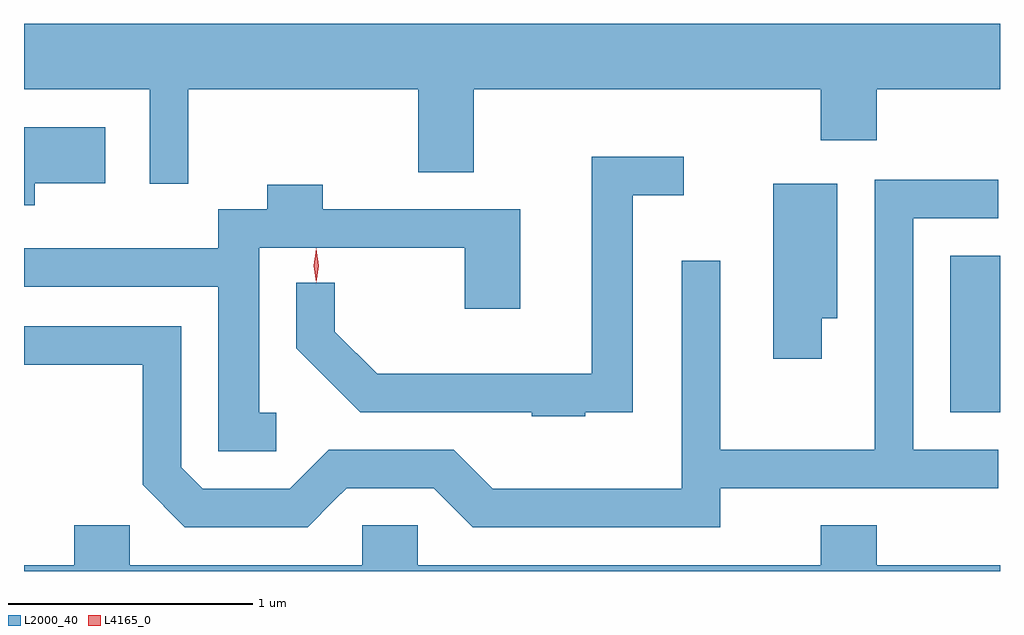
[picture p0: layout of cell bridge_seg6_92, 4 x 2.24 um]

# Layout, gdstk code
import gdstk
lib = gdstk.Library(unit=1e-6, precision=1e-09)
def R(c, l, rs):  # rectangles x0, y0, x1, y1
    for r in rs: c.add(gdstk.rectangle(r[:2], r[2:], *l))
def P(c, l, *ps):  # polygons
    for p in ps: c.add(gdstk.Polygon(p, *l))
L2000_40 = (2000, 40)
L4165_0 = (4165, 0)

bridge_seg6_92 = lib.new_cell('bridge_seg6_92')
R(bridge_seg6_92, L2000_40, [(1066.651,1666.371,1066.855,1667.014)])
P(bridge_seg6_92, L2000_40, [(1063.529,1667.696),(1064.471,1667.696),(1064.471,1667.356),(1064.699,1667.356),(1064.699,1667.696),(1066.121,1667.696),(1066.121,1667.486),(1066.349,1667.486),(1066.349,1667.696),(1066.855,1667.696),(1066.855,1667.964),(1062.855,1667.964),(1062.855,1667.696),(1063.371,1667.696),(1063.371,1667.308),(1063.529,1667.308)],
  [(1062.899,1667.311),(1063.189,1667.311),(1063.189,1667.539),(1062.855,1667.539),(1062.855,1667.221),(1062.899,1667.221)],
  [(1065.155,1666.371),(1065.349,1666.371),(1065.349,1667.261),(1065.558,1667.261),(1065.558,1667.419),(1065.181,1667.419),(1065.181,1666.529),(1064.302,1666.529),(1064.129,1666.702),(1064.129,1666.903),(1063.971,1666.903),(1063.971,1666.634),(1064.234,1666.371),(1064.935,1666.371),(1064.935,1666.356),(1065.155,1666.356)],
  [(1064.128,1666.013),(1064.177,1666.061),(1064.534,1666.061),(1064.694,1665.901),(1065.709,1665.901),(1065.709,1666.061),(1066.848,1666.061),(1066.848,1666.219),(1066.499,1666.219),(1066.499,1667.166),(1066.848,1667.166),(1066.848,1667.324),(1066.341,1667.324),(1066.341,1666.219),(1065.709,1666.219),(1065.709,1666.993),(1065.551,1666.993),(1065.551,1666.059),(1064.777,1666.059),(1064.617,1666.219),(1064.104,1666.219),(1063.944,1666.059),(1063.587,1666.059),(1063.499,1666.147),(1063.499,1666.724),(1062.855,1666.724),(1062.855,1666.566),(1063.341,1666.566),(1063.341,1666.074),(1063.514,1665.901),(1064.017,1665.901)],
  [(1066.124,1666.756),(1066.189,1666.756),(1066.189,1667.309),(1065.926,1667.309),(1065.926,1666.591),(1066.124,1666.591)],
  [(1063.888,1666.369),(1063.819,1666.369),(1063.819,1667.046),(1064.661,1667.046),(1064.661,1666.796),(1064.889,1666.796),(1064.889,1667.204),(1064.079,1667.204),(1064.079,1667.304),(1063.851,1667.304),(1063.851,1667.204),(1063.651,1667.204),(1063.651,1667.044),(1062.855,1667.044),(1062.855,1666.886),(1063.651,1666.886),(1063.651,1666.211),(1063.888,1666.211)],
  [(1066.855,1665.744),(1066.349,1665.744),(1066.349,1665.909),(1066.121,1665.909),(1066.121,1665.744),(1064.469,1665.744),(1064.469,1665.909),(1064.241,1665.909),(1064.241,1665.744),(1063.289,1665.744),(1063.289,1665.909),(1063.061,1665.909),(1063.061,1665.744),(1062.855,1665.744),(1062.855,1665.72),(1066.855,1665.72)])
P(bridge_seg6_92, L4165_0, [(1064.052,1666.903),(1064.052,1666.904),(1064.042,1666.973),(1064.052,1667.042),(1064.052,1667.043),(1064.053,1667.042),(1064.062,1666.973),(1064.053,1666.904)])

lib.write_gds('bridge_seg6_92.gds')
